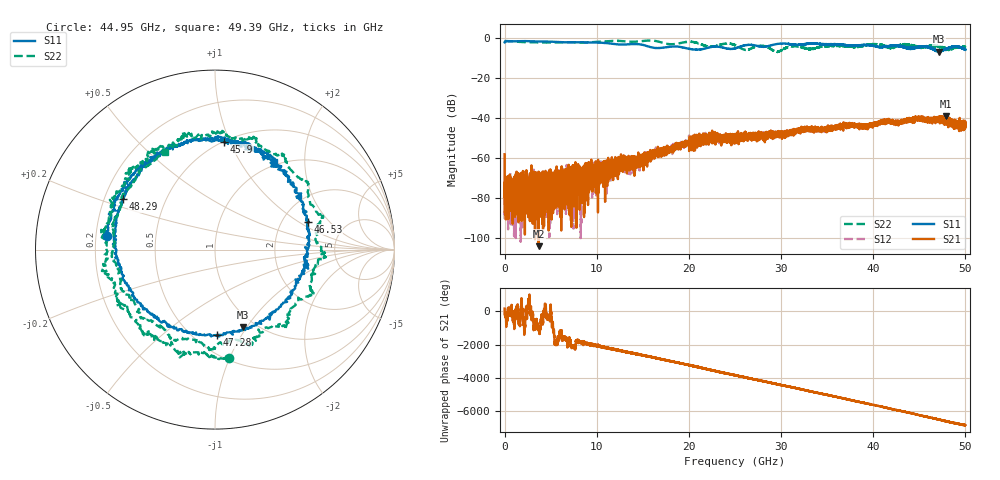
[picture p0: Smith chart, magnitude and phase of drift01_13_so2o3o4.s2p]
!Created with skrf (http://scikit-rf.org).
# Hz S RI R 50.0
!freq ReS11 ImS11 ReS21 ImS21 ReS12 ImS12 ReS22 ImS22
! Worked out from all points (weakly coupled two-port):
!   10001 points, 300 kHz to 50 GHz, reference 50 ohm
!   highest |S21| = -38.94 dB at 47.88 GHz (marker M1); lowest = -104.3 dB at 3.68 GHz (marker M2)
!   lowest |S11| = -6.7 dB at 47.15 GHz (marker M3), VSWR 2.71, Z = 43.8 - j48.2 ohm
!   |S11| at or under -10 dB: nowhere
!   |S22| runs from -6.9 to -1.0 dB; largest |S21 - S12| = 0.0043
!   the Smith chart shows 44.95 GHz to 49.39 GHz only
!   S11 on the Smith chart (normalised r, x): 44.95 GHz: 0.25, +0.06; 45.9 GHz: 0.50, +0.95; 46.53 GHz: 2.75, +1.21; 47.28 GHz: 0.64, -0.79; 48.29 GHz: 0.28, +0.24; 49.39 GHz: 0.94, +1.41
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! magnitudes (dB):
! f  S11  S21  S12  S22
! 300 kHz  -2.1  -58.2  -74.6  -1.3
! 280.3 MHz  -1.4  -74.4  -78.3  -1.4
! 3.68 GHz  -1.5  -104.3  -84.6  -2.0
! 8.335 GHz  -1.9  -75.1  -68.1  -2.1
! 16.67 GHz  -4.9  -59.0  -58.1  -1.6
! 21.6 GHz  -5.3  -48.9  -51.2  -3.4
! 25 GHz  -5.0  -49.1  -50.8  -3.4
! 26.17 GHz  -3.4  -50.7  -49.0  -5.7
! 28.13 GHz  -4.2  -49.6  -48.3  -3.9
! 29.52 GHz  -2.9  -48.1  -48.0  -6.7
! 31.27 GHz  -3.1  -47.8  -47.6  -4.0
! 33.34 GHz  -2.6  -44.1  -46.0  -5.4
! 41.67 GHz  -3.9  -41.4  -41.6  -4.5
! 44.95 GHz  -4.3  -40.4  -41.3  -4.3
! 45.9 GHz  -4.4  -41.3  -41.7  -4.2
! 46.53 GHz  -5.4  -40.7  -40.1  -4.0
! 47.15 GHz  -6.7  -40.3  -41.0  -4.0
! 47.28 GHz  -6.4  -41.0  -41.0  -4.1
! 47.88 GHz  -5.4  -38.9  -41.1  -5.6
! 48.29 GHz  -4.7  -40.4  -41.7  -5.1
! 49.39 GHz  -4.6  -44.8  -43.4  -4.3
! 50 GHz  -5.7  -43.4  -44.5  -4.3
